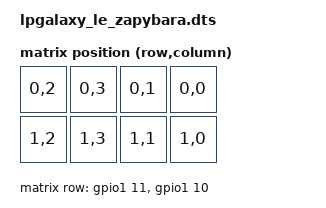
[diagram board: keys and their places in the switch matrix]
/*
 * Copyright (c) 2020 The ZMK Contributors
 *
 * SPDX-License-Identifier: MIT
 */

/dts-v1/;
#include <nordic/nrf52840_qiaa.dtsi>
#include <zephyr/dt-bindings/dt-util.h>
#include <zephyr/dt-bindings/adc/adc.h>
#include <zephyr/dt-bindings/gpio/nordic-nrf-gpio.h>
#include <dt-bindings/zmk/matrix_transform.h>
#include <freq.h>
#include <dt-bindings/gpio/gpio.h> // Required for GPIO flags
#include "lpgalaxy_le_zapybara-layout.dtsi"

&adc {
    status = "okay";

    #address-cells = <1>;
    #size-cells = <0>;

    channel@3 {
        reg = <3>;
        zephyr,gain = "ADC_GAIN_1_6";
        zephyr,reference = "ADC_REF_INTERNAL";
        zephyr,acquisition-time = <ADC_ACQ_TIME(ADC_ACQ_TIME_MICROSECONDS, 40)>;
        zephyr,resolution = <12>;
    };

    channel@1 {
        reg = <1>;
        zephyr,gain = "ADC_GAIN_1_6";
        zephyr,reference = "ADC_REF_INTERNAL";
        zephyr,acquisition-time = <ADC_ACQ_TIME(ADC_ACQ_TIME_MICROSECONDS, 5)>;
        zephyr,resolution = <12>;
    };
};


/ {

    chosen {
        zmk,kscan = &matrix;
        zmk,physical-layout = &layout_0;
        zephyr,code-partition = &code_partition;
        zephyr,sram = &sram0;
        zephyr,flash = &flash0;
	    zerhyr,shell-uart = &cdc_acm_uart;
        zmk,battery = &vbatt; 
    };

    matrix: matrix {
        /* need to be careful with kscan compatible type, defined by driver */
		compatible = "zmk,kscan-gpio-ec";

		matrix-relax-us = <80>;
        matrix-warm-up-ms = <5>;
        active-polling-interval-ms = <1000>;   // 1s interval
        idle-polling-interval-ms = <3500>;     // 3.5s 

        io-channels = <&adc 1>;
        
        discharge-gpios = <&gpio0 2 (GPIO_ACTIVE_HIGH | NRF_GPIO_DRIVE_H0H1)>;
        //power-gpios = <&gpio1 13 (GPIO_ACTIVE_HIGH)>;

		// 2 multiplexer enable pins in col number ascending order
        mux0-en-gpios = <&gpio1 9 GPIO_ACTIVE_LOW>;

        /* mux channel select gpios, in ascending order */
        mux-sel-gpios
        = <&gpio1 13 GPIO_ACTIVE_HIGH>
        , <&gpio0 28 GPIO_ACTIVE_HIGH>
        , <&gpio0 3 GPIO_ACTIVE_HIGH>
        ;
        /* multiplexer pin number mapping to all channels from #0-15 */
        col-channels = <3 0 5 7>;
        /* row gpios, in ascending order */
        row-gpios
		= <&gpio1 11  (GPIO_ACTIVE_HIGH)>
        , <&gpio1 10 (GPIO_ACTIVE_HIGH)>
        ;
        
        /*
        row-input-masks = <
            (BIT(0) + BIT(1) + BIT(2) + BIT(3) + BIT(4) + BIT(5) + BIT(6) + BIT(7) + BIT(8) + BIT(9) + BIT(10) + BIT(11) + BIT(12) + BIT(13) + BIT(14))
            (BIT(0) + BIT(1) + BIT(2) + BIT(3) + BIT(4) + BIT(5) + BIT(6) + BIT(7) + BIT(8) + BIT(9) + BIT(10) + BIT(11) + BIT(12) + BIT(13) + BIT(14))
            (BIT(0) + BIT(1) + BIT(2) + BIT(3) + BIT(4) + BIT(5) + BIT(6) + BIT(7) + BIT(8) + BIT(9) + BIT(10) + BIT(11) + BIT(12) + BIT(13) + BIT(14))
            (BIT(0) + BIT(1) + BIT(2) + BIT(3) + BIT(4) + BIT(5) + BIT(6) + BIT(7) + BIT(8) + BIT(9) + BIT(10) + BIT(11) + BIT(12) + BIT(13) + BIT(14))
            (BIT(0) + BIT(1) + BIT(2) + BIT(3) + BIT(4) + BIT(5) + BIT(6) + BIT(7) + BIT(8) + BIT(9) + BIT(10) + BIT(11) + BIT(12) + BIT(13) + BIT(14))
        >;
        */

        row-input-masks = <
            0
            0
        >;
    };

    vbatt: vbatt {
        compatible = "zmk,battery-voltage-divider";
        io-channels = <&adc 3>;
        output-ohms = <2000000>;
        full-ohms = <(2000000 + 820000)>;
    };

    /* motion sensor interrupt */
    motion_interrupt_pin: motion_interrupt {
        compatible = "gpio-keys";
        my_pin: my_pin {
            /* no internal pull up */
            gpios = <&gpio0 10 (GPIO_ACTIVE_LOW)>;
        };
        wakeup-source;
    };

    transform: transform {
        compatible = "zmk,matrix-transform";
        rows = <2>;
        columns = <4>;

        map = <
        RC(0,2) RC(0,3) RC(0,1) RC(0,0)
        RC(1,2) RC(1,3) RC(1,1) RC(1,0)    
        >;
    };
};

zephyr_udc0: &usbd {
	status = "okay";
        cdc_acm_uart: cdc_acm_uart {
            compatible = "zephyr,cdc-acm-uart";
        };
};

&flash0 {
    partitions {
        compatible = "fixed-partitions";
        #address-cells = <1>;
        #size-cells = <1>;

        sd_partition: partition@0 {
            label = "softdevice";
            reg = <0x00000000 0x00026000>;
        };

        code_partition: partition@26000 {
            label = "code_partition";
            reg = <0x00026000 0x00046000>;
        };
        // The flash starting at 0x0006c000 and ending at
        // 0x00073fff is reserved for use by the application.
        // Storage partition will be used by FCB/LittleFS/NVS if enabled.
        storage_partition: partition@6c000 {
            label = "storage";
            reg = <0x0006c000 0x00008000>;
        };

        boot_partition: partition@74000 {
            label = "adafruit_boot";
            reg = <0x00074000 0x0000c000>;
        };
    };
};



&adc {
    // Battery Sensing
    channel@3 {
        zephyr,input-positive = <NRF_SAADC_AIN0>; /* P0.05 */
    };

    // EC Read
    channel@1 {
        zephyr,input-positive = <NRF_SAADC_AIN7>; /* P0.28 */
    };
};

/* set up I2C gpio pins */
&i2c0 {
    status = "okay";
    compatible = "nordic,nrf-twim";
	pinctrl-0 = <&i2c0_default>;
    pinctrl-names = "default";
	clock-frequency = <100000>;
    zaat_sensor: zaat@53 {           // device node
        compatible = "zmk,adxl345";  // Must match driver
        reg = <0x53>;                // I2C address
    };
};

/* disable I2C internal pull up resistor */
&pinctrl {
    i2c0_default: i2c0_default {
        group1 {
            psels = <NRF_PSEL(TWIM_SDA, 0, 30)>,
                    <NRF_PSEL(TWIM_SCL, 0, 31)>;
        };
    };
};

/* enable gpio port to fix undefined reference issue */
&gpiote {
	status = "okay";
};
/* enable gpio port 0 */
&gpio0 {
	status = "okay";
};
/* enable gpio port 1 */
&gpio1 {
	status = "okay";
};

&power {
    dcdcen0 = <1>; // Enable DC-DC
    regout0-voltage = <3>; // 3 = 3.3V (check Zephyr headers)
};

/*
&flash0 {
	partitions {
		compatible = "fixed-partitions";
		#address-cells = <1>;
		#size-cells = <1>;

		sd_partition: partition@0 {
			label = "mbr";
			reg = <0x00000000 0x00001000>;
		};
		code_partition: partition@1000 {
			label = "code_partition";
			reg = <0x00001000 0x000d3000>;
		};

		storage_partition: partition@d4000 {
			label = "storage";
			reg = <0x000d4000 0x00020000>;
		};

		boot_partition: partition@f4000 {
			label = "adafruit_boot";
			reg = <0x000f4000 0x0000c000>;
		};
	};
};

*/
